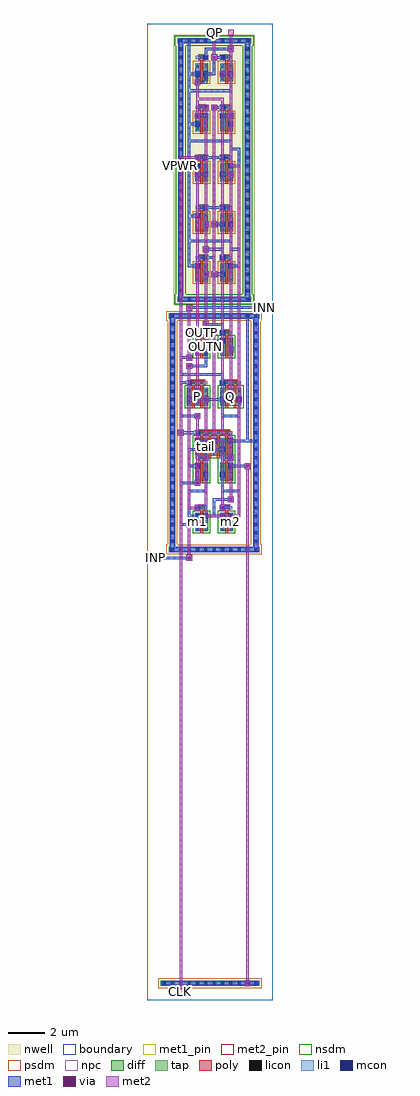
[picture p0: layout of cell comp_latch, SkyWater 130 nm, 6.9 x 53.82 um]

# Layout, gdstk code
import gdstk
lib = gdstk.Library(unit=1e-6, precision=1e-09)
def R(c, l, rs):  # rectangles x0, y0, x1, y1
    for r in rs: c.add(gdstk.rectangle(r[:2], r[2:], *l))
def A(c, l, x, y, w, h, nx, ny, dx, dy):  # array of equal rectangles
    R(c, l, [(x+i*dx, y+j*dy, x+i*dx+w, y+j*dy+h) for i in range(nx) for j in range(ny)])
nwell = (64, 20)
diff = (65, 20)
tap = (65, 44)
poly = (66, 20)
licon = (66, 44)
li1 = (67, 20)
mcon = (67, 44)
met1_pin = (68, 16)
met1 = (68, 20)
via = (68, 44)
met2_pin = (69, 16)
met2 = (69, 20)
nsdm = (93, 44)
psdm = (94, 20)
npc = (95, 20)
boundary = (235, 4)

comp_latch = lib.new_cell('comp_latch')
R(comp_latch, nwell, [(1.455,38.315,5.905,53.225)])
A(comp_latch, diff, 2.635, 39.62, 0.71, 1, 1, 5, 0, 2.76)
A(comp_latch, diff, 4.015, 39.62, 0.71, 1, 1, 5, 0, 2.76)
R(comp_latch, diff, [(2.635,25.865,3.345,26.865), (4.015,25.865,4.725,26.865), (2.635,28.625,3.345,29.625), (4.015,28.625,4.725,29.625), (2.635,30.005,4.725,31.005), (2.175,32.765,3.345,33.765), (4.015,32.765,5.185,33.765), (2.635,35.525,3.345,36.525), (4.015,35.525,4.725,36.525)])
R(comp_latch, tap, [(0.715,0.775,6.185,1.065), (1.175,24.695,6.185,24.985), (1.235,24.695,1.525,37.865), (5.835,24.695,6.125,37.865), (1.175,37.575,6.185,37.865), (1.635,38.495,5.725,38.785), (1.695,38.495,1.985,53.045), (5.375,38.495,5.665,53.045), (1.635,52.755,5.725,53.045)])
A(comp_latch, poly, 2.915, 29.875, 0.15, 1.405, 4, 1, 0.46, 0)
A(comp_latch, poly, 2.915, 39.49, 0.15, 1.45, 1, 5, 0, 2.76)
A(comp_latch, poly, 4.295, 39.49, 0.15, 1.45, 1, 5, 0, 2.76)
A(comp_latch, poly, 2.825, 40.805, 0.33, 0.27, 1, 5, 0, 2.76)
A(comp_latch, poly, 4.205, 40.805, 0.33, 0.27, 1, 5, 0, 2.76)
R(comp_latch, poly, [(2.915,25.735,3.065,27.14), (4.295,25.735,4.445,27.14), (2.825,27.005,3.155,27.275), (4.205,27.005,4.535,27.275), (2.915,28.495,3.065,29.9), (4.295,28.495,4.445,29.9), (2.825,29.765,3.155,30.035), (4.205,29.765,4.535,30.035), (2.825,31.145,4.535,31.415), (2.455,32.635,2.605,34.04), (2.915,32.635,3.065,34.04), (4.295,32.635,4.445,34.04), (4.755,32.635,4.905,34.04), (2.365,33.905,3.155,34.175), (4.205,33.905,4.995,34.175), (2.915,35.395,3.065,36.8), (4.295,35.395,4.445,36.8), (2.825,36.665,3.155,36.935), (4.205,36.665,4.535,36.935)])
A(comp_latch, licon, 0.835, 0.835, 0.17, 0.17, 12, 1, 0.46, 0)
A(comp_latch, licon, 1.295, 24.755, 0.17, 0.17, 11, 2, 0.46, 12.88)
A(comp_latch, licon, 1.295, 25.215, 0.17, 0.17, 1, 27, 0, 0.46)
A(comp_latch, licon, 5.895, 25.215, 0.17, 0.17, 1, 27, 0, 0.46)
A(comp_latch, licon, 2.675, 25.94, 0.17, 0.17, 1, 3, 0, 0.34)
A(comp_latch, licon, 3.135, 25.94, 0.17, 0.17, 1, 3, 0, 0.34)
A(comp_latch, licon, 4.055, 25.94, 0.17, 0.17, 1, 3, 0, 0.34)
A(comp_latch, licon, 4.515, 25.94, 0.17, 0.17, 1, 3, 0, 0.34)
A(comp_latch, licon, 2.675, 28.7, 0.17, 0.17, 1, 3, 0, 0.34)
A(comp_latch, licon, 3.135, 28.7, 0.17, 0.17, 1, 3, 0, 0.34)
A(comp_latch, licon, 4.055, 28.7, 0.17, 0.17, 1, 3, 0, 0.34)
A(comp_latch, licon, 4.515, 28.7, 0.17, 0.17, 1, 3, 0, 0.34)
A(comp_latch, licon, 2.675, 30.08, 0.17, 0.17, 5, 3, 0.46, 0.34)
A(comp_latch, licon, 2.905, 31.195, 0.17, 0.17, 4, 1, 0.46, 0)
A(comp_latch, licon, 2.215, 32.84, 0.17, 0.17, 3, 3, 0.46, 0.34)
A(comp_latch, licon, 4.055, 32.84, 0.17, 0.17, 3, 3, 0.46, 0.34)
A(comp_latch, licon, 2.675, 35.6, 0.17, 0.17, 1, 3, 0, 0.34)
A(comp_latch, licon, 3.135, 35.6, 0.17, 0.17, 1, 3, 0, 0.34)
A(comp_latch, licon, 4.055, 35.6, 0.17, 0.17, 1, 3, 0, 0.34)
A(comp_latch, licon, 4.515, 35.6, 0.17, 0.17, 1, 3, 0, 0.34)
A(comp_latch, licon, 1.755, 38.555, 0.17, 0.17, 9, 2, 0.46, 14.26)
A(comp_latch, licon, 1.755, 39.015, 0.17, 0.17, 1, 30, 0, 0.46)
A(comp_latch, licon, 5.435, 39.015, 0.17, 0.17, 1, 30, 0, 0.46)
A(comp_latch, licon, 2.675, 39.695, 0.17, 0.17, 1, 3, 0, 0.34)
A(comp_latch, licon, 3.135, 39.695, 0.17, 0.17, 1, 3, 0, 0.34)
A(comp_latch, licon, 4.055, 39.695, 0.17, 0.17, 1, 3, 0, 0.34)
A(comp_latch, licon, 4.515, 39.695, 0.17, 0.17, 1, 3, 0, 0.34)
A(comp_latch, licon, 2.905, 40.855, 0.17, 0.17, 1, 5, 0, 2.76)
A(comp_latch, licon, 4.285, 40.855, 0.17, 0.17, 1, 5, 0, 2.76)
A(comp_latch, licon, 2.675, 42.455, 0.17, 0.17, 1, 3, 0, 0.34)
A(comp_latch, licon, 3.135, 42.455, 0.17, 0.17, 1, 3, 0, 0.34)
A(comp_latch, licon, 4.055, 42.455, 0.17, 0.17, 1, 3, 0, 0.34)
A(comp_latch, licon, 4.515, 42.455, 0.17, 0.17, 1, 3, 0, 0.34)
A(comp_latch, licon, 2.675, 45.215, 0.17, 0.17, 1, 3, 0, 0.34)
A(comp_latch, licon, 3.135, 45.215, 0.17, 0.17, 1, 3, 0, 0.34)
A(comp_latch, licon, 4.055, 45.215, 0.17, 0.17, 1, 3, 0, 0.34)
A(comp_latch, licon, 4.515, 45.215, 0.17, 0.17, 1, 3, 0, 0.34)
A(comp_latch, licon, 2.675, 47.975, 0.17, 0.17, 1, 3, 0, 0.34)
A(comp_latch, licon, 3.135, 47.975, 0.17, 0.17, 1, 3, 0, 0.34)
A(comp_latch, licon, 4.055, 47.975, 0.17, 0.17, 1, 3, 0, 0.34)
A(comp_latch, licon, 4.515, 47.975, 0.17, 0.17, 1, 3, 0, 0.34)
A(comp_latch, licon, 2.675, 50.735, 0.17, 0.17, 1, 3, 0, 0.34)
A(comp_latch, licon, 3.135, 50.735, 0.17, 0.17, 1, 3, 0, 0.34)
A(comp_latch, licon, 4.055, 50.735, 0.17, 0.17, 1, 3, 0, 0.34)
A(comp_latch, licon, 4.515, 50.735, 0.17, 0.17, 1, 3, 0, 0.34)
R(comp_latch, licon, [(2.905,27.055,3.075,27.225), (4.285,27.055,4.455,27.225), (2.905,29.815,3.075,29.985), (4.285,29.815,4.455,29.985), (2.445,33.955,2.615,34.125), (2.905,33.955,3.075,34.125), (4.285,33.955,4.455,34.125), (4.745,33.955,4.915,34.125), (2.905,36.715,3.075,36.885), (4.285,36.715,4.455,36.885)])
A(comp_latch, li1, 2.675, 30, 0.17, 1.01, 5, 1, 0.46, 0)
A(comp_latch, li1, 2.215, 32.76, 0.17, 1.01, 3, 1, 0.46, 0)
A(comp_latch, li1, 4.055, 32.76, 0.17, 1.01, 3, 1, 0.46, 0)
A(comp_latch, li1, 2.675, 39.615, 0.17, 1.01, 1, 5, 0, 2.76)
A(comp_latch, li1, 3.135, 39.615, 0.17, 1.01, 1, 5, 0, 2.76)
A(comp_latch, li1, 4.055, 39.615, 0.17, 1.01, 1, 5, 0, 2.76)
A(comp_latch, li1, 4.515, 39.615, 0.17, 1.01, 1, 5, 0, 2.76)
A(comp_latch, li1, 2.675, 40.855, 0.63, 0.17, 1, 5, 0, 2.76)
A(comp_latch, li1, 4.055, 40.855, 0.63, 0.17, 1, 5, 0, 2.76)
R(comp_latch, li1, [(0.755,0.835,6.145,1.005), (1.215,24.755,6.145,24.925), (1.295,24.755,1.465,37.805), (5.895,24.755,6.065,37.805), (2.675,25.86,2.845,26.87), (3.135,25.86,3.305,26.87), (4.055,25.86,4.225,26.87), (4.515,25.86,4.685,26.87), (2.675,27.055,3.305,27.225), (4.055,27.055,4.685,27.225), (2.675,28.62,2.845,29.63), (3.135,28.62,3.305,29.63), (4.055,28.62,4.225,29.63), (4.515,28.62,4.685,29.63), (2.675,29.815,3.305,29.985), (4.055,29.815,4.685,29.985), (2.675,31.195,4.685,31.365), (2.215,33.955,3.305,34.125), (4.055,33.955,5.145,34.125), (2.675,35.52,2.845,36.53), (3.135,35.52,3.305,36.53), (4.055,35.52,4.225,36.53), (4.515,35.52,4.685,36.53), (2.675,36.715,3.305,36.885), (4.055,36.715,4.685,36.885), (1.215,37.635,6.145,37.805), (1.675,38.555,5.685,38.725), (1.755,38.555,1.925,52.985), (5.435,38.555,5.605,52.985), (1.675,52.815,5.685,52.985)])
A(comp_latch, mcon, 0.835, 0.835, 0.17, 0.17, 12, 1, 0.46, 0)
A(comp_latch, mcon, 1.295, 24.755, 0.17, 0.17, 11, 2, 0.46, 12.88)
A(comp_latch, mcon, 1.295, 25.215, 0.17, 0.17, 1, 4, 0, 0.46)
A(comp_latch, mcon, 5.895, 25.215, 0.17, 0.17, 1, 10, 0, 0.46)
A(comp_latch, mcon, 1.295, 27.055, 0.17, 0.17, 3, 1, 1.38, 0)
A(comp_latch, mcon, 1.295, 27.515, 0.17, 0.17, 1, 12, 0, 0.46)
A(comp_latch, mcon, 3.135, 29.815, 0.17, 0.17, 3, 1, 1.38, 0)
A(comp_latch, mcon, 5.895, 30.275, 0.17, 0.17, 1, 6, 0, 0.46)
A(comp_latch, mcon, 2.675, 30.735, 0.17, 0.17, 3, 1, 0.92, 0)
A(comp_latch, mcon, 2.675, 31.195, 0.17, 0.17, 1, 3, 0, 2.3)
A(comp_latch, mcon, 1.295, 33.035, 0.17, 0.17, 6, 1, 0.92, 0)
A(comp_latch, mcon, 1.295, 33.495, 0.17, 0.17, 1, 9, 0, 0.46)
A(comp_latch, mcon, 2.215, 33.955, 0.17, 0.17, 3, 1, 1.84, 0)
A(comp_latch, mcon, 5.895, 34.415, 0.17, 0.17, 1, 7, 0, 0.46)
A(comp_latch, mcon, 1.755, 38.555, 0.17, 0.17, 9, 2, 0.46, 14.26)
A(comp_latch, mcon, 1.755, 39.015, 0.17, 0.17, 1, 30, 0, 0.46)
A(comp_latch, mcon, 5.435, 39.015, 0.17, 0.17, 1, 30, 0, 0.46)
A(comp_latch, mcon, 2.675, 40.395, 0.17, 0.17, 1, 3, 0, 2.76)
R(comp_latch, mcon, [(2.675,26.595,2.845,26.765), (3.135,26.595,3.305,26.765), (4.055,26.595,4.225,26.765), (4.515,26.595,4.685,26.765), (3.135,28.895,3.305,29.065), (4.055,28.895,4.225,29.065), (2.675,29.355,2.845,29.525), (4.515,29.355,4.685,29.525), (3.135,30.275,3.305,30.445), (4.055,30.275,4.225,30.445), (4.515,33.495,4.685,33.665), (5.895,33.495,6.065,33.665), (4.515,35.795,4.685,35.965), (3.135,36.255,3.305,36.425), (4.055,36.255,4.225,36.425), (3.135,36.715,3.305,36.885), (4.055,36.715,4.225,36.885), (3.135,39.935,3.305,40.105), (4.055,39.935,4.225,40.105), (4.515,40.395,4.685,40.565), (3.135,40.855,3.305,41.025), (4.055,40.855,4.225,41.025), (3.135,42.695,3.305,42.865), (4.055,42.695,4.225,42.865), (4.515,42.695,4.685,42.865), (3.135,43.615,3.305,43.785), (4.055,43.615,4.225,43.785), (3.135,45.455,3.305,45.625), (4.055,45.455,4.225,45.625), (4.515,45.915,4.685,46.085), (3.135,46.375,3.305,46.545), (4.055,46.375,4.225,46.545), (2.675,48.215,2.845,48.385), (4.515,48.215,4.685,48.385), (3.135,48.675,3.305,48.845), (4.055,48.675,4.225,48.845), (3.135,49.135,3.305,49.305), (4.055,49.135,4.225,49.305), (2.675,50.975,2.845,51.145), (3.135,50.975,3.305,51.145), (4.055,50.975,4.225,51.145), (4.515,50.975,4.685,51.145), (3.135,51.895,3.305,52.065), (4.055,51.895,4.225,52.065)])
R(comp_latch, met1_pin, [(2.23,29.37,2.37,30.43), (1.77,45.93,1.91,46.07)])
A(comp_latch, met1, 2.615, 30.675, 0.29, 0.29, 3, 1, 0.92, 0)
A(comp_latch, met1, 2.615, 31.135, 0.29, 0.29, 1, 3, 0, 2.3)
A(comp_latch, met1, 2.155, 32.975, 0.29, 0.29, 4, 1, 0.92, 0)
A(comp_latch, met1, 3.15, 33.05, 1.06, 0.14, 1, 3, 0, 4.14)
A(comp_latch, met1, 3.06, 39.86, 0.32, 0.32, 1, 3, 0, 1.38)
A(comp_latch, met1, 2.615, 40.335, 0.29, 0.29, 1, 3, 0, 2.76)
A(comp_latch, met1, 2.69, 46.39, 0.6, 0.14, 3, 1, 0.46, 0)
R(comp_latch, met1, [(5.36,0.76,5.68,1.08), (0.775,0.775,6.125,1.065), (5.45,0.85,5.59,0.99), (0.3,24.22,0.62,24.54), (2.14,24.22,2.46,24.54), (0.39,24.31,2.37,24.45), (1.235,24.695,1.525,37.865), (1.235,24.695,6.125,24.985), (5.835,24.695,6.125,37.865), (2.14,26.06,2.46,26.38), (1.77,26.15,1.91,28.59), (1.77,26.15,2.37,26.29), (3.98,26.52,4.3,26.84), (2.615,26.535,2.905,26.825), (3.075,26.535,3.365,26.825), (3.995,26.535,4.285,26.825), (4.455,26.535,4.745,26.825), (2.23,26.61,2.37,28.13), (2.23,26.61,2.83,26.75), (3.15,26.61,3.75,26.75), (3.61,26.61,3.75,27.67), (4.53,26.61,5.13,26.75), (4.99,26.61,5.13,28.13), (2.6,26.98,2.92,27.3), (3.98,26.98,4.3,27.3), (2.615,26.995,2.905,27.285), (3.995,26.995,4.285,27.285), (4.44,27.44,4.76,27.76), (3.61,27.53,4.67,27.67), (2.23,27.99,3.29,28.13), (3.15,27.99,3.29,29.05), (4.07,27.99,4.21,29.05), (4.07,27.99,5.13,28.13), (2.6,28.36,2.92,28.68), (1.77,28.45,2.83,28.59), (3.075,28.835,3.365,29.125), (3.995,28.835,4.285,29.125), (5.36,29.28,5.68,29.6), (2.615,29.295,2.905,29.585), (4.455,29.295,4.745,29.585), (2.23,29.37,2.37,30.43), (2.23,29.37,2.83,29.51), (4.53,29.37,5.13,29.51), (4.99,29.37,5.13,30.89), (4.99,29.37,5.59,29.51), (3.06,29.74,3.38,30.06), (4.44,29.74,4.76,30.06), (3.075,29.755,3.365,30.045), (4.455,29.755,4.745,30.045), (3.06,30.2,3.38,30.52), (3.52,30.2,3.84,30.52), (3.075,30.215,3.365,30.505), (3.995,30.215,4.285,30.505), (2.23,30.29,2.83,30.43), (2.69,30.29,2.83,30.89), (3.61,30.29,4.21,30.43), (2.69,30.75,3.75,30.89), (3.61,30.75,4.67,30.89), (4.53,30.75,6.05,30.89), (5.45,30.75,5.59,37.79), (5.91,30.75,6.05,30.89), (1.68,31.12,2,31.44), (1.77,31.21,2.83,31.35), (2.6,32.04,2.92,32.36), (1.77,32.13,2.83,32.27), (1.77,32.13,1.91,34.11), (4.07,32.13,4.21,33.19), (4.07,32.13,5.13,32.27), (4.99,32.13,5.13,33.19), (2.6,32.96,2.92,33.28), (3.06,32.96,3.38,33.28), (2.23,33.05,2.83,33.19), (2.6,33.42,2.92,33.74), (4.44,33.42,4.76,33.74), (4.455,33.435,4.745,33.725), (2.155,33.895,2.445,34.185), (3.995,33.895,4.285,34.185), (1.77,33.97,2.37,34.11), (4.07,33.97,4.21,34.57), (1.77,34.43,1.91,35.49), (1.77,34.43,4.21,34.57), (2.14,34.8,2.46,35.12), (2.23,34.89,3.29,35.03), (3.15,34.89,3.29,36.41), (2.14,35.26,2.46,35.58), (1.77,35.35,2.37,35.49), (2.6,35.72,2.92,36.04), (4.44,35.72,4.76,36.04), (4.455,35.735,4.745,36.025), (3.06,36.18,3.38,36.5), (3.075,36.195,3.365,36.485), (3.995,36.195,4.285,36.485), (3.61,36.27,4.21,36.41), (3.61,36.27,3.75,36.87), (3.52,36.64,3.84,36.96), (3.075,36.655,3.365,36.945), (3.995,36.655,4.285,36.945), (3.15,36.73,3.75,36.87), (4.07,36.73,4.21,37.33), (3.06,37.1,3.38,37.42), (1.235,37.575,6.125,37.865), (5.45,37.65,5.59,37.79), (2.14,38.02,2.46,38.34), (6.28,38.02,6.6,38.34), (2.23,38.11,6.51,38.25), (1.695,38.495,1.985,53.045), (1.695,38.495,5.665,38.785), (5.375,38.495,5.665,53.045), (3.52,39.86,3.84,40.18), (3.075,39.875,3.365,40.165), (3.995,39.875,4.285,40.165), (3.61,39.95,3.75,41.01), (3.61,39.95,4.21,40.09), (4.455,40.335,4.745,40.625), (2.23,40.41,2.83,40.55), (2.23,40.41,2.37,43.31), (4.53,40.41,5.13,40.55), (4.99,40.41,5.13,41.47), (3.075,40.795,3.365,41.085), (3.995,40.795,4.285,41.085), (3.15,40.87,3.75,41.01), (4.07,40.87,4.21,41.47), (4.53,41.33,5.13,41.47), (4.53,41.33,4.67,41.93), (2.23,41.79,4.67,41.93), (4.53,41.79,4.67,42.85), (3.52,42.62,3.84,42.94), (3.075,42.635,3.365,42.925), (3.995,42.635,4.285,42.925), (4.455,42.635,4.745,42.925), (3.61,42.71,4.21,42.85), (2.23,43.17,2.83,43.31), (2.23,43.17,2.37,46.07), (3.075,43.555,3.365,43.845), (3.995,43.555,4.285,43.845), (3.15,43.63,4.21,43.77), (3.61,43.63,3.75,46.53), (2.6,45.38,2.92,45.7), (4.44,45.38,4.76,45.7), (3.075,45.395,3.365,45.685), (3.995,45.395,4.285,45.685), (2.69,45.47,3.29,45.61), (4.07,45.47,4.67,45.61), (4.455,45.855,4.745,46.145), (1.77,45.93,1.91,46.07), (1.77,45.93,2.83,46.07), (2.23,45.93,2.37,48.37), (4.53,45.93,5.13,46.07), (4.99,45.93,5.13,46.99), (2.6,46.3,2.92,46.62), (3.075,46.315,3.365,46.605), (3.995,46.315,4.285,46.605), (4.53,46.85,5.13,46.99), (4.53,46.85,4.67,47.45), (2.23,47.31,4.67,47.45), (4.53,47.31,4.67,48.37), (2.615,48.155,2.905,48.445), (4.455,48.155,4.745,48.445), (2.23,48.23,2.83,48.37), (2.23,48.23,2.37,51.13), (2.6,48.6,2.92,48.92), (4.44,48.6,4.76,48.92), (3.075,48.615,3.365,48.905), (3.995,48.615,4.285,48.905), (2.69,48.69,3.29,48.83), (4.07,48.69,4.67,48.83), (3.06,49.06,3.38,49.38), (3.52,49.06,3.84,49.38), (3.075,49.075,3.365,49.365), (3.995,49.075,4.285,49.365), (3.61,49.15,4.21,49.29), (2.23,50.07,4.67,50.21), (4.53,50.07,4.67,51.13), (2.6,50.44,2.92,50.76), (2.69,50.53,3.29,50.67), (3.15,50.53,3.29,51.13), (3.98,50.9,4.3,51.22), (2.615,50.915,2.905,51.205), (3.075,50.915,3.365,51.205), (3.995,50.915,4.285,51.205), (4.455,50.915,4.745,51.205), (2.23,50.99,2.83,51.13), (2.23,50.99,2.37,52.97), (3.15,50.99,3.75,51.13), (3.61,50.99,3.75,52.05), (3.52,51.82,3.84,52.14), (3.075,51.835,3.365,52.125), (3.995,51.835,4.285,52.125), (3.15,51.91,3.29,52.51), (3.61,51.91,4.21,52.05), (4.44,52.28,4.76,52.6), (3.15,52.37,4.67,52.51), (1.695,52.755,5.665,53.045), (2.23,52.83,2.37,52.97)])
A(comp_latch, via, 3.145, 39.945, 0.15, 0.15, 1, 3, 0, 1.38)
R(comp_latch, via, [(5.445,0.845,5.595,0.995), (0.385,24.305,0.535,24.455), (2.225,24.305,2.375,24.455), (2.225,26.145,2.375,26.295), (4.065,26.605,4.215,26.755), (2.685,27.065,2.835,27.215), (4.065,27.065,4.215,27.215), (4.525,27.525,4.675,27.675), (2.685,28.445,2.835,28.595), (5.445,29.365,5.595,29.515), (3.145,29.825,3.295,29.975), (4.525,29.825,4.675,29.975), (3.145,30.285,3.295,30.435), (3.605,30.285,3.755,30.435), (1.765,31.205,1.915,31.355), (2.685,32.125,2.835,32.275), (2.685,33.045,2.835,33.195), (3.145,33.045,3.295,33.195), (2.685,33.505,2.835,33.655), (4.525,33.505,4.675,33.655), (2.225,34.885,2.375,35.035), (2.225,35.345,2.375,35.495), (2.685,35.805,2.835,35.955), (4.525,35.805,4.675,35.955), (3.145,36.265,3.295,36.415), (3.605,36.725,3.755,36.875), (3.145,37.185,3.295,37.335), (2.225,38.105,2.375,38.255), (6.365,38.105,6.515,38.255), (3.605,39.945,3.755,40.095), (3.605,42.705,3.755,42.855), (2.685,45.465,2.835,45.615), (4.525,45.465,4.675,45.615), (2.685,46.385,2.835,46.535), (2.685,48.685,2.835,48.835), (4.525,48.685,4.675,48.835), (3.145,49.145,3.295,49.295), (3.605,49.145,3.755,49.295), (2.685,50.525,2.835,50.675), (4.065,50.985,4.215,51.135), (3.605,51.905,3.755,52.055), (4.525,52.365,4.675,52.515)])
R(comp_latch, met2_pin, [(1.69,0.31,1.99,0.61), (0.31,24.23,0.61,24.53), (6.29,38.03,6.59,38.33), (3.53,53.21,3.83,53.51), (4.45,53.21,4.75,53.51)])
A(comp_latch, met2, 3.06, 39.86, 0.32, 0.32, 1, 3, 0, 1.38)
R(comp_latch, met2, [(1.69,0.31,1.99,0.61), (1.77,0.39,1.91,0.53), (1.77,0.39,1.91,31.35), (5.36,0.76,5.68,1.08), (5.45,0.85,5.59,29.51), (0.3,24.22,0.62,24.54), (2.14,24.22,2.46,24.54), (0.31,24.23,0.61,24.53), (0.39,24.31,0.53,24.45), (2.23,24.31,2.37,26.29), (2.14,26.06,2.46,26.38), (3.98,26.52,4.3,26.84), (3.15,26.61,3.29,29.97), (3.15,26.61,4.21,26.75), (4.07,26.61,5.13,26.75), (4.99,26.61,5.13,46.07), (2.6,26.98,2.92,27.3), (3.98,26.98,4.3,27.3), (2.23,27.07,2.83,27.21), (2.23,27.07,2.37,35.03), (4.07,27.07,4.21,30.89), (4.44,27.44,4.76,27.76), (4.53,27.53,4.67,29.97), (2.6,28.36,2.92,28.68), (2.69,28.45,2.83,32.27), (5.36,29.28,5.68,29.6), (3.06,29.74,3.38,30.06), (4.44,29.74,4.76,30.06), (4.53,29.83,4.67,31.35), (3.06,30.2,3.38,30.52), (3.52,30.2,3.84,30.52), (3.15,30.29,3.75,30.43), (3.15,30.29,3.29,33.19), (3.61,30.75,4.21,30.89), (3.61,30.75,3.75,36.87), (1.68,31.12,2,31.44), (1.77,31.21,1.91,46.53), (4.07,31.21,4.67,31.35), (4.07,31.21,4.21,49.75), (2.6,32.04,2.92,32.36), (2.6,32.96,2.92,33.28), (3.06,32.96,3.38,33.28), (2.69,33.05,3.29,33.19), (2.6,33.42,2.92,33.74), (4.44,33.42,4.76,33.74), (2.69,33.51,2.83,35.95), (4.53,33.51,4.67,35.95), (2.14,34.8,2.46,35.12), (2.14,35.26,2.46,35.58), (2.23,35.35,2.37,38.25), (2.6,35.72,2.92,36.04), (4.44,35.72,4.76,36.04), (2.69,35.81,2.83,45.61), (4.53,35.81,4.67,45.61), (3.06,36.18,3.38,36.5), (3.15,36.27,3.29,37.33), (3.52,36.64,3.84,36.96), (3.61,36.73,3.75,40.09), (3.06,37.1,3.38,37.42), (3.15,37.19,3.29,40.09), (2.14,38.02,2.46,38.34), (6.28,38.02,6.6,38.34), (6.29,38.03,6.59,38.33), (6.37,38.11,6.51,38.25), (3.52,39.86,3.84,40.18), (3.15,39.95,3.29,42.85), (3.61,39.95,3.75,42.85), (3.52,42.62,3.84,42.94), (3.15,42.71,3.29,49.29), (3.61,42.71,3.75,49.29), (2.6,45.38,2.92,45.7), (4.44,45.38,4.76,45.7), (4.53,45.93,5.13,46.07), (4.53,45.93,4.67,48.83), (2.6,46.3,2.92,46.62), (1.77,46.39,2.83,46.53), (2.6,48.6,2.92,48.92), (4.44,48.6,4.76,48.92), (2.69,48.69,2.83,50.67), (4.53,48.69,4.67,51.13), (3.06,49.06,3.38,49.38), (3.52,49.06,3.84,49.38), (2.69,49.61,4.21,49.75), (2.6,50.44,2.92,50.76), (3.98,50.9,4.3,51.22), (4.07,50.99,4.67,51.13), (4.53,50.99,4.67,53.43), (3.52,51.82,3.84,52.14), (3.61,51.91,3.75,53.43), (4.44,52.28,4.76,52.6), (3.53,53.21,3.83,53.51), (4.45,53.21,4.75,53.51), (3.61,53.29,3.75,53.43), (4.53,53.29,4.67,53.43)])
R(comp_latch, nsdm, [(2.51,25.74,3.47,26.99), (3.89,25.74,4.85,26.99), (2.51,28.5,3.47,29.88), (3.89,28.5,4.85,29.88), (2.51,29.88,4.85,31.13), (2.05,32.64,3.47,33.89), (3.89,32.64,5.31,33.89), (2.51,35.4,3.47,36.65), (3.89,35.4,4.85,36.65), (1.51,38.37,5.85,38.91), (1.57,38.91,2.11,52.63), (5.25,38.91,5.79,52.63), (1.51,52.63,5.85,53.17)])
A(comp_latch, psdm, 2.51, 39.495, 0.96, 1.25, 1, 5, 0, 2.76)
A(comp_latch, psdm, 3.89, 39.495, 0.96, 1.25, 1, 5, 0, 2.76)
R(comp_latch, psdm, [(0.59,0.65,6.31,1.19), (1.05,24.57,6.31,25.11), (1.11,25.11,1.65,37.45), (5.71,25.11,6.25,37.45), (1.05,37.45,6.31,37.99)])
A(comp_latch, npc, 2.805, 40.755, 0.37, 0.37, 1, 5, 0, 2.76)
A(comp_latch, npc, 4.185, 40.755, 0.37, 0.37, 1, 5, 0, 2.76)
R(comp_latch, npc, [(2.805,26.955,3.175,27.325), (4.185,26.955,4.555,27.325), (2.805,29.715,3.175,30.085), (4.185,29.715,4.555,30.085), (2.805,31.095,4.555,31.465), (2.345,33.855,3.175,34.225), (4.185,33.855,5.015,34.225), (2.805,36.615,3.175,36.985), (4.185,36.615,4.555,36.985)])
R(comp_latch, boundary, [(0,0,6.9,53.82)])
comp_latch.add(gdstk.Label('tail', (3.22,30.505), layer=67, texttype=5))
comp_latch.add(gdstk.Label('P', (2.76,33.265), layer=67, texttype=5))
comp_latch.add(gdstk.Label('Q', (4.6,33.265), layer=67, texttype=5))
comp_latch.add(gdstk.Label('OUTP', (2.99,36.8), layer=67, texttype=5))
comp_latch.add(gdstk.Label('OUTN', (3.22,36.025), layer=67, texttype=5))
comp_latch.add(gdstk.Label('m1', (2.76,26.365), layer=67, texttype=5))
comp_latch.add(gdstk.Label('m2', (4.6,26.365), layer=67, texttype=5))
comp_latch.add(gdstk.Label('VPWR', (1.84,46), layer=68, texttype=5))
comp_latch.add(gdstk.Label('VGND', (2.3,29.9), layer=68, texttype=5))
comp_latch.add(gdstk.Label('CLK', (1.84,0.46), layer=69, texttype=5))
comp_latch.add(gdstk.Label('INP', (0.46,24.38), layer=69, texttype=5))
comp_latch.add(gdstk.Label('INN', (6.44,38.18), layer=69, texttype=5))
comp_latch.add(gdstk.Label('QP', (3.68,53.36), layer=69, texttype=5))
comp_latch.add(gdstk.Label('QN', (4.6,53.36), layer=69, texttype=5))
comp_latch.add(gdstk.Label('VPWR', (1.84,46), layer=68, texttype=16))
comp_latch.add(gdstk.Label('VGND', (2.3,29.9), layer=68, texttype=16))
comp_latch.add(gdstk.Label('CLK', (1.84,0.46), layer=69, texttype=16))
comp_latch.add(gdstk.Label('INP', (0.46,24.38), layer=69, texttype=16))
comp_latch.add(gdstk.Label('INN', (6.44,38.18), layer=69, texttype=16))
comp_latch.add(gdstk.Label('QP', (3.68,53.36), layer=69, texttype=16))
comp_latch.add(gdstk.Label('QN', (4.6,53.36), layer=69, texttype=16))

lib.write_gds('comp_latch.gds')
